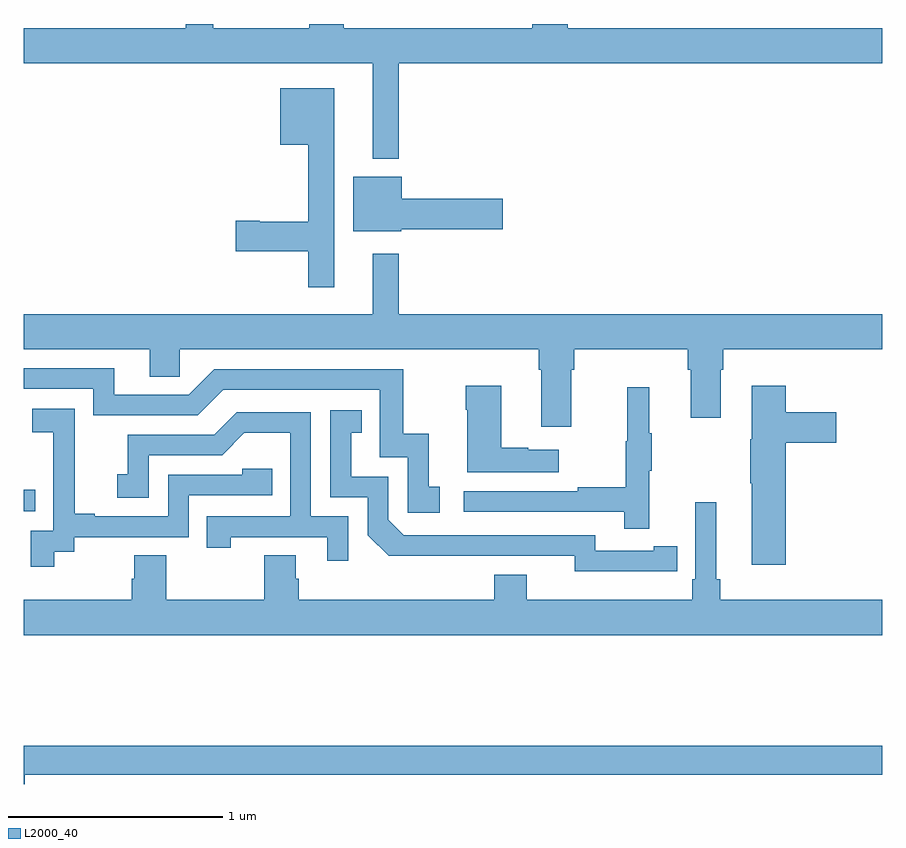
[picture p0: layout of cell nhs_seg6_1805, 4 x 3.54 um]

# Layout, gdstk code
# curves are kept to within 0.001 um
import gdstk
lib = gdstk.Library(unit=1e-6, precision=1e-09)
def R(c, l, rs):  # rectangles x0, y0, x1, y1
    for r in rs: c.add(gdstk.rectangle(r[:2], r[2:], *l))
def P(c, l, *ps):  # polygons
    for p in ps: c.add(gdstk.Polygon(p, *l))
L2000_40 = (2000, 40)

nhs_seg6_1805 = lib.new_cell('nhs_seg6_1805')
R(nhs_seg6_1805, L2000_40, [(219,965.229,219.053,965.33)])
P(nhs_seg6_1805, L2000_40, [(220.747,967.316),(223,967.316),(223,967.48),(221.534,967.48),(221.534,967.5),(221.369,967.5),(221.369,967.48),(220.49,967.48),(220.49,967.5),(220.33,967.5),(220.33,967.48),(219.883,967.48),(219.883,967.5),(219.755,967.5),(219.755,967.48),(219,967.48),(219,967.316),(220.625,967.316),(220.625,966.872),(220.747,966.872)],
  [(220.447,967.201),(220.196,967.201),(220.196,966.938),(220.326,966.938),(220.326,966.579),(220.099,966.579),(220.099,966.584),(219.987,966.584),(219.987,966.442),(220.326,966.442),(220.326,966.273),(220.447,966.273)],
  [(220.758,966.544),(221.233,966.544),(221.233,966.686),(220.762,966.686),(220.762,966.787),(220.535,966.787),(220.535,966.533),(220.758,966.533)],
  [(221.551,965.888),(221.564,965.888),(221.564,965.984),(222.095,965.984),(222.095,965.888),(222.107,965.888),(222.107,965.664),(222.247,965.664),(222.247,965.888),(222.26,965.888),(222.26,965.984),(223,965.984),(223,966.148),(220.747,966.148),(220.747,966.43),(220.625,966.43),(220.625,966.148),(219,966.148),(219,965.984),(219.587,965.984),(219.587,965.857),(219.726,965.857),(219.726,965.984),(221.399,965.984),(221.399,965.888),(221.411,965.888),(221.411,965.622),(221.551,965.622)],
  [(220.939,965.343),(220.886,965.343),(220.886,965.59),(220.768,965.59),(220.768,965.892),(219.888,965.892),(219.768,965.772),(219.421,965.772),(219.421,965.895),(219,965.895),(219,965.799),(219.324,965.799),(219.324,965.676),(219.81,965.676),(219.93,965.796),(220.659,965.796),(220.659,965.481),(220.788,965.481),(220.788,965.223),(220.939,965.223)],
  [(221.494,965.515),(221.351,965.515),(221.351,965.525),(221.224,965.525),(221.224,965.815),(221.059,965.815),(221.059,965.702),(221.066,965.702),(221.066,965.411),(221.494,965.411)],
  [(222.551,965.549),(222.787,965.549),(222.787,965.691),(222.551,965.691),(222.551,965.815),(222.392,965.815),(222.392,965.565),(222.385,965.565),(222.385,965.359),(222.392,965.359),(222.392,964.98),(222.551,964.98)],
  [(221.915,965.419),(221.926,965.419),(221.926,965.593),(221.915,965.593),(221.915,965.806),(221.812,965.806),(221.812,965.556),(221.805,965.556),(221.805,965.342),(221.581,965.342),(221.581,965.322),(221.049,965.322),(221.049,965.226),(221.797,965.226),(221.797,965.148),(221.915,965.148)],
  [(219.142,965.041),(219.234,965.041),(219.234,965.109),(219.768,965.109),(219.768,965.304),(220.157,965.304),(220.157,965.427),(220.017,965.427),(220.017,965.4),(219.672,965.4),(219.672,965.205),(219.331,965.205),(219.331,965.218),(219.236,965.218),(219.236,965.501),(219.237,965.501),(219.237,965.707),(219.039,965.707),(219.039,965.597),(219.137,965.597),(219.137,965.369),(219.138,965.369),(219.138,965.139),(219.033,965.139),(219.033,964.971),(219.142,964.971)],
  [(221.936,964.95),(222.044,964.95),(222.044,965.066),(221.936,965.066),(221.936,965.046),(221.664,965.046),(221.664,965.118),(220.77,965.118),(220.698,965.19),(220.698,965.391),(220.525,965.391),(220.525,965.595),(220.574,965.595),(220.574,965.701),(220.428,965.701),(220.428,965.295),(220.602,965.295),(220.602,965.118),(220.7,965.021),(221.568,965.022),(221.568,964.949)],
  [(220.512,965.205),(220.338,965.205),(220.338,965.691),(219.992,965.691),(219.887,965.586),(219.484,965.586),(219.484,965.401),(219.435,965.401),(219.435,965.292),(219.582,965.292),(219.582,965.49),(219.924,965.49),(220.028,965.594),(220.242,965.594),(220.242,965.205),(219.853,965.205),(219.853,965.058),(219.964,965.058),(219.964,965.109),(220.415,965.109),(220.415,964.998),(220.512,964.998)],
  [(223,964.816),(222.245,964.816),(222.245,964.912),(222.226,964.912),(222.226,965.272),(222.129,965.272),(222.129,964.912),(222.116,964.912),(222.116,964.816),(221.344,964.816),(221.344,964.933),(221.192,964.933),(221.192,964.816),(220.28,964.816),(220.28,964.914),(220.267,964.914),(220.267,965.024),(220.12,965.024),(220.12,964.816),(219.663,964.816),(219.663,965.024),(219.515,965.024),(219.515,964.914),(219.503,964.914),(219.503,964.816),(219,964.816),(219,964.652),(223,964.652)],
  [(219.004,964),(223,964),(223,964.136),(219,964.136),(219,963.958),(219.004,963.958)])

lib.write_gds('nhs_seg6_1805.gds')
